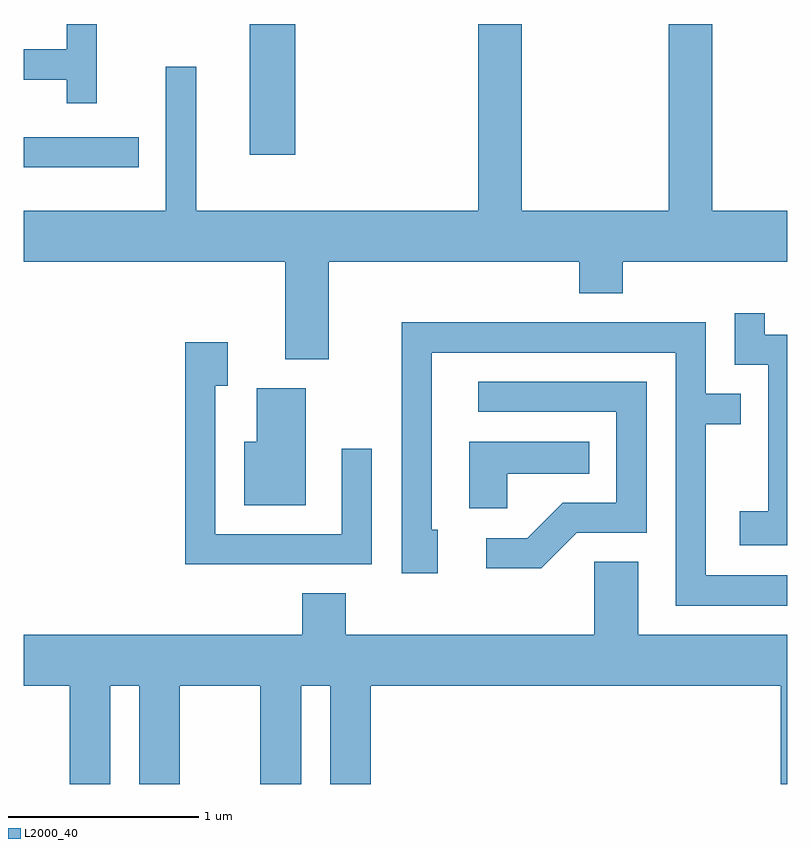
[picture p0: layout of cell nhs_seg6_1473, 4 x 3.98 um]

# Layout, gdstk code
import gdstk
lib = gdstk.Library(unit=1e-6, precision=1e-09)
def R(c, l, rs):  # rectangles x0, y0, x1, y1
    for r in rs: c.add(gdstk.rectangle(r[:2], r[2:], *l))
def P(c, l, *ps):  # polygons
    for p in ps: c.add(gdstk.Polygon(p, *l))
L2000_40 = (2000, 40)

nhs_seg6_1473 = lib.new_cell('nhs_seg6_1473')
R(nhs_seg6_1473, L2000_40, [(229.611,1559.411,230.213,1559.569), (230.796,1559.476,231.034,1560.162)])
P(nhs_seg6_1473, L2000_40, [(231.209,1558.916),(232.521,1558.916),(232.521,1558.751),(232.749,1558.751),(232.749,1558.916),(233.611,1558.916),(233.611,1559.184),(233.219,1559.184),(233.219,1560.162),(232.991,1560.162),(232.991,1559.184),(232.219,1559.184),(232.219,1560.162),(231.991,1560.162),(231.991,1559.184),(230.514,1559.184),(230.514,1559.938),(230.356,1559.938),(230.356,1559.184),(229.611,1559.184),(229.611,1558.916),(230.981,1558.916),(230.981,1558.406),(231.209,1558.406)],
  [(229.994,1560.162),(229.836,1560.162),(229.836,1560.029),(229.611,1560.029),(229.611,1559.871),(229.836,1559.871),(229.836,1559.748),(229.994,1559.748)],
  [(233.611,1558.534),(233.494,1558.534),(233.494,1558.648),(233.336,1558.648),(233.336,1558.376),(233.511,1558.376),(233.511,1557.609),(233.361,1557.609),(233.361,1557.431),(233.611,1557.431)],
  [(233.611,1557.274),(233.184,1557.274),(233.184,1558.066),(233.368,1558.066),(233.368,1558.224),(233.184,1558.224),(233.184,1558.599),(231.591,1558.599),(231.591,1557.286),(231.779,1557.286),(231.779,1557.514),(231.749,1557.514),(231.749,1558.441),(233.026,1558.441),(233.026,1557.116),(233.611,1557.116)],
  [(231.434,1557.938),(231.276,1557.938),(231.276,1557.489),(230.614,1557.489),(230.614,1558.266),(230.679,1558.266),(230.679,1558.494),(230.456,1558.494),(230.456,1557.331),(231.434,1557.331)],
  [(232.507,1557.496),(232.874,1557.496),(232.874,1558.289),(231.993,1558.289),(231.993,1558.131),(232.716,1558.131),(232.716,1557.654),(232.434,1557.654),(232.249,1557.469),(232.033,1557.469),(232.033,1557.311),(232.322,1557.311)],
  [(231.089,1558.254),(230.831,1558.254),(230.831,1557.974),(230.766,1557.974),(230.766,1557.641),(231.089,1557.641)],
  [(232.144,1557.806),(232.573,1557.806),(232.573,1557.974),(231.946,1557.974),(231.946,1557.626),(232.144,1557.626)],
  [(230.064,1556.696),(230.216,1556.696),(230.216,1556.181),(230.429,1556.181),(230.429,1556.696),(230.851,1556.696),(230.851,1556.181),(231.064,1556.181),(231.064,1556.696),(231.216,1556.696),(231.216,1556.181),(231.429,1556.181),(231.429,1556.696),(233.576,1556.696),(233.576,1556.181),(233.611,1556.181),(233.611,1556.964),(232.829,1556.964),(232.829,1557.344),(232.601,1557.344),(232.601,1556.964),(231.299,1556.964),(231.299,1557.179),(231.071,1557.179),(231.071,1556.964),(229.611,1556.964),(229.611,1556.696),(229.851,1556.696),(229.851,1556.181),(230.064,1556.181)])

lib.write_gds('nhs_seg6_1473.gds')
